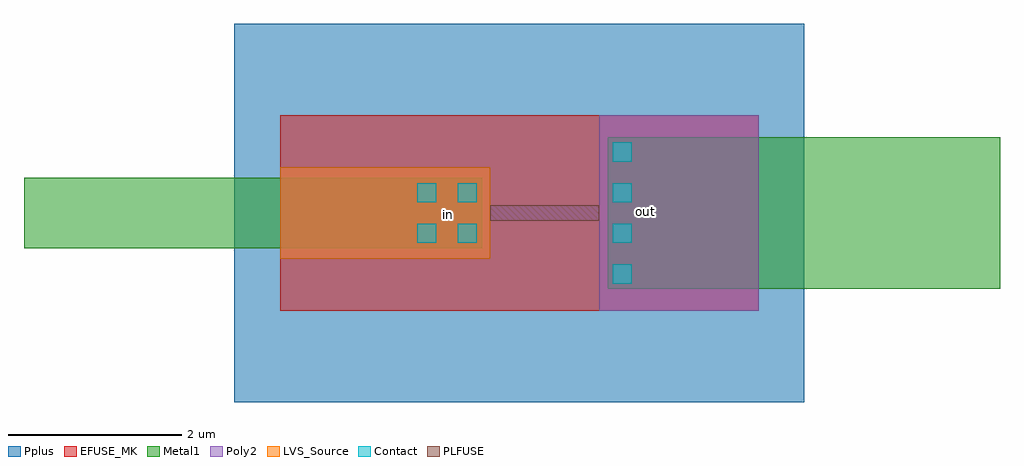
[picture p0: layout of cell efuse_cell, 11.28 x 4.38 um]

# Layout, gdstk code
import gdstk
lib = gdstk.Library(unit=1e-6, precision=1e-09)
def R(c, l, rs):  # rectangles x0, y0, x1, y1
    for r in rs: c.add(gdstk.rectangle(r[:2], r[2:], *l))
def A(c, l, x, y, w, h, nx, ny, dx, dy):  # array of equal rectangles
    R(c, l, [(x+i*dx, y+j*dy, x+i*dx+w, y+j*dy+h) for i in range(nx) for j in range(ny)])
Poly2 = (30, 0)
Pplus = (31, 0)
Contact = (33, 0)
Metal1 = (34, 0)
EFUSE_MK = (80, 5)
LVS_Source = (100, 8)
PLFUSE = (125, 5)

efuse_cell = lib.new_cell('efuse_cell')
R(efuse_cell, Poly2, [(331.665,230.541,333.505,232.801), (327.975,231.141,330.405,232.201), (330.405,231.581,331.665,231.761)])
R(efuse_cell, Pplus, [(327.445,229.481,334.035,233.861)])
A(efuse_cell, Contact, 331.82, 230.856, 0.22, 0.22, 1, 4, 0, 0.47)
R(efuse_cell, Contact, [(331.82,230.856,332.04,231.076), (329.56,231.326,329.78,231.546), (329.56,231.326,329.78,231.546), (330.03,231.326,330.25,231.546), (329.56,231.796,329.78,232.016), (330.03,231.796,330.25,232.016)])
R(efuse_cell, Metal1, [(331.76,230.796,336.295,232.546), (325.015,231.266,330.31,232.076)])
R(efuse_cell, EFUSE_MK, [(327.975,230.541,333.505,232.801)])
R(efuse_cell, LVS_Source, [(327.975,231.141,330.405,232.201)])
R(efuse_cell, PLFUSE, [(330.405,231.581,331.665,231.761)])
efuse_cell.add(gdstk.Label('out', (332.194,231.688), layer=34, texttype=10))
efuse_cell.add(gdstk.Label('in', (329.924,231.654), layer=34, texttype=10))

lib.write_gds('efuse_cell.gds')
